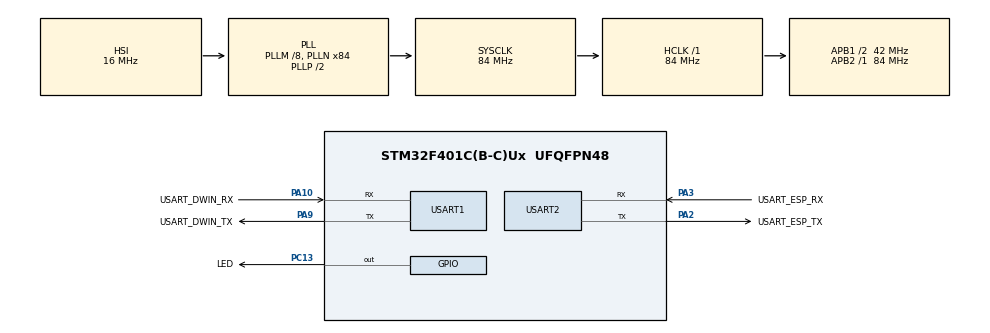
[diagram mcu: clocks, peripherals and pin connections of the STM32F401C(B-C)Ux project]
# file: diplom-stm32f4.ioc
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FREERTOS.BinarySemaphores01=sem_rcv_data_from_mqtt,Dynamic,NULL
FREERTOS.Queues01=queue_dwin_send,16,dwin_data_t,0,Dynamic,NULL,NULL;queue_data_from_esp,16,uart_data_t,0,Dynamic,NULL,NULL;queue_esp_send,5,uart_data_t,0,Dynamic,NULL,NULL;queue_data_from_dwin,5,dwin_data_t,0,Dynamic,NULL,NULL
FREERTOS.Tasks01=defaultTask,0,128,StartDefaultTask,Default,NULL,Dynamic,NULL,NULL
FREERTOS.configENABLE_FPU=1
FREERTOS.configUSE_NEWLIB_REENTRANT=1
FREERTOS.configUSE_TIMERS=1
Mcu.Family=STM32F4
Mcu.Name=STM32F401C(B-C)Ux
Mcu.Package=UFQFPN48
NVIC.PriorityGroup=NVIC_PRIORITYGROUP_4
NVIC.USART1_IRQn=true\:5\:0\:false\:false\:true\:true\:true\:true\:true
NVIC.USART2_IRQn=true\:5\:0\:false\:false\:true\:true\:true\:true\:true
PA10.GPIO_Label=USART_DWIN_RX
PA10.Mode=Asynchronous
PA10.Signal=USART1_RX
PA13.Mode=Serial_Wire
PA13.Signal=SYS_JTMS-SWDIO
PA14.Mode=Serial_Wire
PA14.Signal=SYS_JTCK-SWCLK
PA2.GPIO_Label=USART_ESP_TX
PA2.Mode=Asynchronous
PA2.Signal=USART2_TX
PA3.GPIO_Label=USART_ESP_RX
PA3.Mode=Asynchronous
PA3.Signal=USART2_RX
PA9.GPIO_Label=USART_DWIN_TX
PA9.Mode=Asynchronous
PA9.Signal=USART1_TX
PC13-ANTI_TAMP.GPIO_Label=LED
PC13-ANTI_TAMP.Signal=GPIO_Output
PC14-OSC32_IN.Mode=LSE-External-Oscillator
PC14-OSC32_IN.Signal=RCC_OSC32_IN
PC15-OSC32_OUT.Mode=LSE-External-Oscillator
PC15-OSC32_OUT.Signal=RCC_OSC32_OUT
PH0\ -\ OSC_IN.Mode=HSE-External-Oscillator
PH0\ -\ OSC_IN.Signal=RCC_OSC_IN
PH1\ -\ OSC_OUT.Mode=HSE-External-Oscillator
PH1\ -\ OSC_OUT.Signal=RCC_OSC_OUT
ProjectManager.HeapSize=0x200
ProjectManager.StackSize=0x400
ProjectManager.TargetToolchain=STM32CubeIDE
RCC.48MHZClocksFreq_Value=42000000
RCC.AHBFreq_Value=84000000
RCC.APB1CLKDivider=RCC_HCLK_DIV2
RCC.APB1Freq_Value=42000000
RCC.APB1TimFreq_Value=84000000
RCC.APB2Freq_Value=84000000
RCC.APB2TimFreq_Value=84000000
RCC.CortexFreq_Value=84000000
RCC.HCLKFreq_Value=84000000
RCC.HSE_VALUE=25000000
RCC.HSI_VALUE=16000000
RCC.PLLM=8
RCC.PLLN=84
RCC.SYSCLKFreq_VALUE=84000000
RCC.SYSCLKSource=RCC_SYSCLKSOURCE_PLLCLK
RCC.VCOOutputFreq_Value=168000000
USART1.VirtualMode=VM_ASYNC
USART2.VirtualMode=VM_ASYNC
VP_FREERTOS_VS_CMSIS_V1.Mode=CMSIS_V1
board=custom

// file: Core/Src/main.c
/* USER CODE BEGIN Header */
/**
  ******************************************************************************
  * @file           : main.c
  * @brief          : Main program body
  ******************************************************************************
  * @attention
  *
  * Copyright (c) 2023 STMicroelectronics.
  * All rights reserved.
  * All rights reserved.
  *
  * This software is licensed under terms that can be found in the LICENSE file
  * in the root directory of this software component.
  * If no LICENSE file comes with this software, it is provided AS-IS.
  *
  ******************************************************************************
  */
/* USER CODE END Header */
#include "main.h"
#include "cmsis_os.h"

/* USER CODE BEGIN Includes */
#include "uart_data.h"
#include "crc8.h"
/* USER CODE END Includes */

UART_HandleTypeDef huart1;
UART_HandleTypeDef huart2;

osThreadId defaultTaskHandle;
osMessageQId queue_dwin_sendHandle;
osMessageQId queue_data_from_espHandle;
osMessageQId queue_esp_sendHandle;
osMessageQId queue_data_from_dwinHandle;
osSemaphoreId sem_rcv_data_from_mqttHandle;
/* USER CODE BEGIN PV */
osSemaphoreId sem_led_blinkHandle;
volatile char rx_data_esp[sizeof (uart_data_t)];
volatile char rx_data_dwin[sizeof (dwin_data_t)];
/* USER CODE END PV */

void SystemClock_Config(void);
static void MX_GPIO_Init(void);
static void MX_USART1_UART_Init(void);
static void MX_USART2_UART_Init(void);
void StartDefaultTask(void const * argument);

/* USER CODE BEGIN PFP */
void StartRcvFromEspTask(void const * argument);
void StartSendToEspTask(void const * argument);
void StartRcvFromDWINTask(void const * argument);
void StartSendToDWINTask(void const * argument);
void LedBlinkTask(void const * argument);
/* USER CODE END PFP */

int main(void)
{

  /* MCU Configuration--------------------------------------------------------*/

  /* Reset of all peripherals, Initializes the Flash interface and the Systick. */
  HAL_Init();

  /* Configure the system clock */
  SystemClock_Config();

  /* Initialize all configured peripherals */
  MX_GPIO_Init();
  MX_USART1_UART_Init();
  MX_USART2_UART_Init();
  /* USER CODE BEGIN 2 */
    //HAL_Delay(5000);
  /* USER CODE END 2 */

  /* Create the semaphores(s) */
  /* definition and creation of sem_rcv_data_from_mqtt */
  osSemaphoreDef(sem_rcv_data_from_mqtt);
  sem_rcv_data_from_mqttHandle = osSemaphoreCreate(osSemaphore(sem_rcv_data_from_mqtt), 1);

  /* USER CODE BEGIN RTOS_SEMAPHORES */
  /* add semaphores, ... */
    osSemaphoreDef(sem_led_on);
    sem_led_blinkHandle = osSemaphoreCreate(osSemaphore(sem_led_on), 1);
  /* USER CODE END RTOS_SEMAPHORES */

  /* Create the queue(s) */
  /* definition and creation of queue_dwin_send */
  osMessageQDef(queue_dwin_send, 16, dwin_data_t);
  queue_dwin_sendHandle = osMessageCreate(osMessageQ(queue_dwin_send), NULL);

  /* definition and creation of queue_data_from_esp */
  osMessageQDef(queue_data_from_esp, 16, uart_data_t);
  queue_data_from_espHandle = osMessageCreate(osMessageQ(queue_data_from_esp), NULL);

  /* definition and creation of queue_esp_send */
  osMessageQDef(queue_esp_send, 10, uart_data_t);
  queue_esp_sendHandle = osMessageCreate(osMessageQ(queue_esp_send), NULL);

  /* definition and creation of queue_data_from_dwin */
  osMessageQDef(queue_data_from_dwin, 10, dwin_data_t);
  queue_data_from_dwinHandle = osMessageCreate(osMessageQ(queue_data_from_dwin), NULL);

  /* Create the thread(s) */
  /* definition and creation of defaultTask */
  osThreadDef(defaultTask, StartDefaultTask, osPriorityNormal, 0, 128);
  defaultTaskHandle = osThreadCreate(osThread(defaultTask), NULL);

  /* USER CODE BEGIN RTOS_THREADS */
  /* add threads, ... */
    osThreadDef(RcvFromEspDataTask, StartRcvFromEspTask, osPriorityNormal, 0, 128);
    defaultTaskHandle = osThreadCreate(osThread(RcvFromEspDataTask), NULL);

    osThreadDef(SendToEspDataTask, StartSendToEspTask, osPriorityNormal, 0, 128);
    defaultTaskHandle = osThreadCreate(osThread(SendToEspDataTask), NULL);

    osThreadDef(RcvFromDWINDataTask, StartRcvFromDWINTask, osPriorityNormal, 0, 128);
    defaultTaskHandle = osThreadCreate(osThread(RcvFromDWINDataTask), NULL);

    osThreadDef(SendToDWINDataTask, StartSendToDWINTask, osPriorityNormal, 0, 128);
    defaultTaskHandle = osThreadCreate(osThread(SendToDWINDataTask), NULL);

    osThreadDef(LedBlinkTask, LedBlinkTask, osPriorityNormal, 0, 128);
    defaultTaskHandle = osThreadCreate(osThread(LedBlinkTask), NULL);

    HAL_UARTEx_ReceiveToIdle_IT(&huart2, (uint8_t*)rx_data_esp,sizeof (uart_data_t));
    HAL_UARTEx_ReceiveToIdle_IT(&huart1, (uint8_t*)rx_data_dwin,sizeof (dwin_data_t));
    HAL_GPIO_WritePin(LED_GPIO_Port, LED_Pin, 1);

  /* USER CODE END RTOS_THREADS */

  /* Start scheduler */
  osKernelStart();
  /* We should never get here as control is now taken by the scheduler */
  /* Infinite loop */
  while (1)
  {

  }
}

void SystemClock_Config(void)
{
  RCC_OscInitTypeDef RCC_OscInitStruct = {0};
  RCC_ClkInitTypeDef RCC_ClkInitStruct = {0};

  /** Configure the main internal regulator output voltage
  */
  __HAL_RCC_PWR_CLK_ENABLE();
  __HAL_PWR_VOLTAGESCALING_CONFIG(PWR_REGULATOR_VOLTAGE_SCALE2);

  /** Initializes the RCC Oscillators according to the specified parameters
  * in the RCC_OscInitTypeDef structure.
  */
  RCC_OscInitStruct.OscillatorType = RCC_OSCILLATORTYPE_HSI;
  RCC_OscInitStruct.HSIState = RCC_HSI_ON;
  RCC_OscInitStruct.HSICalibrationValue = RCC_HSICALIBRATION_DEFAULT;
  RCC_OscInitStruct.PLL.PLLState = RCC_PLL_ON;
  RCC_OscInitStruct.PLL.PLLSource = RCC_PLLSOURCE_HSI;
  RCC_OscInitStruct.PLL.PLLM = 8;
  RCC_OscInitStruct.PLL.PLLN = 84;
  RCC_OscInitStruct.PLL.PLLP = RCC_PLLP_DIV2;
  RCC_OscInitStruct.PLL.PLLQ = 4;
  if (HAL_RCC_OscConfig(&RCC_OscInitStruct) != HAL_OK)
  {
    Error_Handler();
  }

  /** Initializes the CPU, AHB and APB buses clocks
  */
  RCC_ClkInitStruct.ClockType = RCC_CLOCKTYPE_HCLK|RCC_CLOCKTYPE_SYSCLK
                              |RCC_CLOCKTYPE_PCLK1|RCC_CLOCKTYPE_PCLK2;
  RCC_ClkInitStruct.SYSCLKSource = RCC_SYSCLKSOURCE_PLLCLK;
  RCC_ClkInitStruct.AHBCLKDivider = RCC_SYSCLK_DIV1;
  RCC_ClkInitStruct.APB1CLKDivider = RCC_HCLK_DIV2;
  RCC_ClkInitStruct.APB2CLKDivider = RCC_HCLK_DIV1;

  if (HAL_RCC_ClockConfig(&RCC_ClkInitStruct, FLASH_LATENCY_2) != HAL_OK)
  {
    Error_Handler();
  }
}

static void MX_USART1_UART_Init(void)
{

  huart1.Instance = USART1;
  huart1.Init.BaudRate = 115200;
  huart1.Init.WordLength = UART_WORDLENGTH_8B;
  huart1.Init.StopBits = UART_STOPBITS_1;
  huart1.Init.Parity = UART_PARITY_NONE;
  huart1.Init.Mode = UART_MODE_TX_RX;
  huart1.Init.HwFlowCtl = UART_HWCONTROL_NONE;
  huart1.Init.OverSampling = UART_OVERSAMPLING_16;
  if (HAL_UART_Init(&huart1) != HAL_OK)
  {
    Error_Handler();
  }

}

static void MX_USART2_UART_Init(void)
{

  huart2.Instance = USART2;
  huart2.Init.BaudRate = 115200;
  huart2.Init.WordLength = UART_WORDLENGTH_8B;
  huart2.Init.StopBits = UART_STOPBITS_1;
  huart2.Init.Parity = UART_PARITY_NONE;
  huart2.Init.Mode = UART_MODE_TX_RX;
  huart2.Init.HwFlowCtl = UART_HWCONTROL_NONE;
  huart2.Init.OverSampling = UART_OVERSAMPLING_16;
  if (HAL_UART_Init(&huart2) != HAL_OK)
  {
    Error_Handler();
  }

}

static void MX_GPIO_Init(void)
{
  GPIO_InitTypeDef GPIO_InitStruct = {0};

  /* GPIO Ports Clock Enable */
  __HAL_RCC_GPIOC_CLK_ENABLE();
  __HAL_RCC_GPIOH_CLK_ENABLE();
  __HAL_RCC_GPIOA_CLK_ENABLE();

  /*Configure GPIO pin Output Level */
  HAL_GPIO_WritePin(LED_GPIO_Port, LED_Pin, GPIO_PIN_RESET);

  /*Configure GPIO pin : LED_Pin */
  GPIO_InitStruct.Pin = LED_Pin;
  GPIO_InitStruct.Mode = GPIO_MODE_OUTPUT_PP;
  GPIO_InitStruct.Pull = GPIO_NOPULL;
  GPIO_InitStruct.Speed = GPIO_SPEED_FREQ_LOW;
  HAL_GPIO_Init(LED_GPIO_Port, &GPIO_InitStruct);

}

/* USER CODE BEGIN 4 */
void StartRcvFromEspTask(void const * argument)
{
    /* USER CODE BEGIN 5 */
    dwin_data_t dwin_data;
    uart_data_t uart_data_rcv;
    /* Infinite loop */
    for(;;)
    {
        xQueueReceive(queue_data_from_espHandle, &uart_data_rcv, portMAX_DELAY);
        xSemaphoreGive(sem_led_blinkHandle);
        if (uart_data_rcv.crc == crc8ccitt(&uart_data_rcv, DATA_SIZE) && uart_data_rcv.crc != 0){

            memset(&dwin_data, '\0',sizeof (dwin_data));
            size_t len_data = strlen(uart_data_rcv.value);

            dwin_data.header = HEADER_PACKET;
            dwin_data.len = len_data + sizeof (dwin_data.address) + sizeof (dwin_data.direction);

            dwin_data.direction = TO_DWIN;
            memcpy(dwin_data.data, uart_data_rcv.value, len_data);

            int len_data_must_be;

            switch ((packet_type_e)uart_data_rcv.data_type) {
                case DATA_TYPE_STATE:
                    dwin_data.address = ADDR_MESSAGE;
                    for (int i = (int)len_data; i < MESSAGE_LEN; ++i) {
                        dwin_data.data[i] = ' ';
                        dwin_data.len++;
                    }
                    xQueueSend(queue_dwin_sendHandle, &dwin_data, pdMS_TO_TICKS(50));
                    break;
                case DATA_TYPE_DATA:

                    switch ((parametr_name_e)uart_data_rcv.id_parametr) {
                        case PARAMETR_TEMP:
                            len_data_must_be = 5;
                            dwin_data.address = ADDR_TEMPERATURE;
                            break;
                        case PARAMETR_HUMIDITY:
                            len_data_must_be = 5;
                            dwin_data.address = ADDR_HUMIDITY;
                            break;
                        case PARAMETR_INSOL:
                            len_data_must_be = 5;
                            dwin_data.address = ADDR_INSOL;
                            break;
                        case PARAMETR_INPUTS:
                            len_data_must_be = 2;
                            dwin_data.address = ADDR_INPUT;
                            if (dwin_data.data[0] == '1'){
                                dwin_data.data[0] = 0x00;
                                dwin_data.data[1] = 0x01;
                                dwin_data.len++;
                                len_data++;
                            } else if (dwin_data.data[0] == '0'){
                                dwin_data.data[0] = 0x00;
                                dwin_data.data[1] = 0x00;
                                dwin_data.len++;
                                len_data++;
                            }
                            break;
                        case PARAMETR_ONPAYLOAD:
                            len_data_must_be = 2;
                            dwin_data.address = ADDR_PAYLOAD;
                            if (dwin_data.data[0] == '1'){
                                dwin_data.data[0] = 0x00;
                                dwin_data.data[1] = 0x01;
                                dwin_data.len++;
                                len_data++;
                            } else if (dwin_data.data[0] == '0'){
                                dwin_data.data[0] = 0x00;
                                dwin_data.data[1] = 0x00;
                                dwin_data.len++;
                                len_data++;
                            }
                            break;
                        case PARAMETR_NA:
                        default:
                            break;
                    }
                    if ((parametr_name_e) uart_data_rcv.id_parametr == PARAMETR_TEMP ||
                        (parametr_name_e) uart_data_rcv.id_parametr == PARAMETR_HUMIDITY ||
                        (parametr_name_e) uart_data_rcv.id_parametr == PARAMETR_INSOL ||
                        (parametr_name_e) uart_data_rcv.id_parametr == PARAMETR_INPUTS ||
                        (parametr_name_e) uart_data_rcv.id_parametr == PARAMETR_ONPAYLOAD
                        ) {

                        for (int i = (int)len_data; i < len_data_must_be; ++i) {
                            dwin_data.data[i] = ' ';
                            dwin_data.len++;
                        }

                        xQueueSend(queue_dwin_sendHandle, &dwin_data, pdMS_TO_TICKS(1));

                    }
                    break;
                case DATA_TYPE_CMD:
                    break;
                default:
                    break;
            }
        }
    }
    /* USER CODE END 5 */
}

void StartSendToEspTask(void const * argument)
{
    /* USER CODE BEGIN 5 */
    uart_data_t to_esp_data;
    /* Infinite loop */
    for(;;)
    {
        xQueueReceive(queue_esp_sendHandle, &to_esp_data, portMAX_DELAY);
        size_t len_packet = sizeof (uart_data_t);
        HAL_UART_Transmit(&huart2, (uint8_t*)&to_esp_data, len_packet, 50);
        vTaskDelay(pdMS_TO_TICKS(1));
    }
    /* USER CODE END 5 */
}

void StartRcvFromDWINTask(void const * argument)
{
    /* USER CODE BEGIN 5 */
    dwin_data_t dwin_data;
    uart_data_t uart_data;
    uint8_t state_button_payload;
    /* Infinite loop */
    for(;;)
    {
        xQueueReceive(queue_data_from_dwinHandle, &dwin_data, portMAX_DELAY);

        if (dwin_data.header == HEADER_PACKET) {
            memset(&uart_data, '\0', sizeof (uart_data_t));

            switch (dwin_data.address) {
                case ADDR_TOPIC_BASE: {
                    int current_position = 1;
                    while (dwin_data.data[current_position] != 255) {
                        uart_data.value[current_position - 1] = dwin_data.data[current_position];
                        current_position++;
                    }
                    uart_data.data_type = (uint32_t) DATA_TYPE_CMD;
                    uart_data.id_parametr = (uint32_t) COMMAND_SUBSCRIBE_TOPIC;
                }
                    break;
                case ADDR_PAYLOAD_BTN:
                    uart_data.data_type = (uint32_t)DATA_TYPE_CMD;
                    if (state_button_payload == 0){
                        uart_data.id_parametr = (uint32_t)COMMAND_ON_LOAD;
                        state_button_payload = 1;
                    } else {
                        uart_data.id_parametr = (uint32_t)COMMAND_OFF_LOAD;
                        state_button_payload = 0;
                    }

                    break;
                default:
                    break;
            }
            uart_data.crc = crc8ccitt(&uart_data, DATA_SIZE);
            xQueueSend(queue_esp_sendHandle, &uart_data, pdMS_TO_TICKS(10));
        }

    }
    /* USER CODE END 5 */
}

void StartSendToDWINTask(void const * argument)
{
    /* USER CODE BEGIN 5 */
    dwin_data_t dwin_data;
    /* Infinite loop */
    for(;;)
    {
        xQueueReceive(queue_dwin_sendHandle, &dwin_data, portMAX_DELAY);
        size_t len_packet = dwin_data.len + sizeof (dwin_data.len) + sizeof (dwin_data.header);
        HAL_UART_Transmit(&huart1, (uint8_t*)&dwin_data, len_packet, 50);
        vTaskDelay(pdMS_TO_TICKS(1));
    }
    /* USER CODE END 5 */
}

void LedBlinkTask(void const * argument)
{
    /* USER CODE BEGIN 5 */

    /* Infinite loop */
    for(;;)
    {
        xSemaphoreTake(sem_led_blinkHandle, portMAX_DELAY);
        HAL_GPIO_WritePin(LED_GPIO_Port, LED_Pin, 0);
        vTaskDelay(pdMS_TO_TICKS(10));
        HAL_GPIO_WritePin(LED_GPIO_Port, LED_Pin, 1);
    }
    /* USER CODE END 5 */
}

void HAL_UARTEx_RxEventCallback(UART_HandleTypeDef *huart, uint16_t Size) {

    if (huart == &huart2) { //uart esp

        xQueueSendFromISR(queue_data_from_espHandle, (uint8_t*)rx_data_esp, NULL);
        HAL_UARTEx_ReceiveToIdle_IT(&huart2, (uint8_t*)rx_data_esp,sizeof (uart_data_t));

    } else if (huart == &huart1) { //uart dwin

        xQueueSendFromISR(queue_data_from_dwinHandle, (uint8_t*)rx_data_dwin, NULL);
        HAL_UARTEx_ReceiveToIdle_IT(&huart1, (uint8_t*)rx_data_dwin,sizeof (dwin_data_t));

    }
}

/* USER CODE END 4 */

void StartDefaultTask(void const * argument)
{
  /* USER CODE BEGIN 5 */
    dwin_data_t dwin_data;
    uart_data_t uart_data_rcv;
    /* Infinite loop */
    for(;;)
    {
        xQueueReceive(queue_data_from_espHandle, &uart_data_rcv, portMAX_DELAY);
        xSemaphoreGive(sem_led_blinkHandle);
        if (uart_data_rcv.crc == crc8ccitt(&uart_data_rcv, DATA_SIZE) && uart_data_rcv.crc != 0){

            memset(&dwin_data, '\0',sizeof (dwin_data));
            size_t len_data = strlen(uart_data_rcv.value);

            dwin_data.header = HEADER_PACKET;
            dwin_data.len = len_data + sizeof (dwin_data.address) + sizeof (dwin_data.direction);

            dwin_data.direction = TO_DWIN;
            memcpy(dwin_data.data, uart_data_rcv.value, len_data);

            int len_data_must_be;

            switch ((packet_type_e)uart_data_rcv.data_type) {
                case DATA_TYPE_STATE:
                    dwin_data.address = ADDR_MESSAGE;
                    for (int i = (int)len_data; i < MESSAGE_LEN; ++i) {
                        dwin_data.data[i] = ' ';
                        dwin_data.len++;
                    }
                    xQueueSend(queue_dwin_sendHandle, &dwin_data, pdMS_TO_TICKS(50));
                    break;
                case DATA_TYPE_DATA:

                    switch ((parametr_name_e)uart_data_rcv.id_parametr) {
                        case PARAMETR_TEMP:
                            len_data_must_be = 5;
                            dwin_data.address = ADDR_TEMPERATURE;
                            break;
                        case PARAMETR_HUMIDITY:
                            len_data_must_be = 5;
                            dwin_data.address = ADDR_HUMIDITY;
                            break;
                        case PARAMETR_INSOL:
                            len_data_must_be = 5;
                            dwin_data.address = ADDR_INSOL;
                            break;
                        case PARAMETR_INPUTS:
                            len_data_must_be = 2;
                            dwin_data.address = ADDR_INPUT;
                            if (dwin_data.data[0] == '1'){
                                dwin_data.data[0] = 0x00;
                                dwin_data.data[1] = 0x01;
                                dwin_data.len++;
                                len_data++;
                            } else if (dwin_data.data[0] == '0'){
                                dwin_data.data[0] = 0x00;
                                dwin_data.data[1] = 0x00;
                                dwin_data.len++;
                                len_data++;
                            }
                            break;
                        case PARAMETR_ONPAYLOAD:
                            len_data_must_be = 2;
                            dwin_data.address = ADDR_PAYLOAD;
                            if (dwin_data.data[0] == '1'){
                                dwin_data.data[0] = 0x00;
                                dwin_data.data[1] = 0x01;
                                dwin_data.len++;
                                len_data++;
                            } else if (dwin_data.data[0] == '0'){
                                dwin_data.data[0] = 0x00;
                                dwin_data.data[1] = 0x00;
                                dwin_data.len++;
                                len_data++;
                            }
                            break;
                        case PARAMETR_NA:
                        default:
                            break;
                    }
                    if ((parametr_name_e) uart_data_rcv.id_parametr == PARAMETR_TEMP ||
                        (parametr_name_e) uart_data_rcv.id_parametr == PARAMETR_HUMIDITY ||
                        (parametr_name_e) uart_data_rcv.id_parametr == PARAMETR_INSOL ||
                        (parametr_name_e) uart_data_rcv.id_parametr == PARAMETR_INPUTS ||
                        (parametr_name_e) uart_data_rcv.id_parametr == PARAMETR_ONPAYLOAD
                        ) {

                        for (int i = (int)len_data; i < len_data_must_be; ++i) {
                            dwin_data.data[i] = ' ';
                            dwin_data.len++;
                        }

                        xQueueSend(queue_dwin_sendHandle, &dwin_data, pdMS_TO_TICKS(50));

                    }
                    break;
                case DATA_TYPE_CMD:
                    break;
                default:
                    break;
            }
        }
    }
  /* USER CODE END 5 */
}

void Error_Handler(void)
{
  /* USER CODE BEGIN Error_Handler_Debug */
  /* User can add his own implementation to report the HAL error return state */
  __disable_irq();
  while (1)
  {
      __NOP();
  }
  /* USER CODE END Error_Handler_Debug */
}
